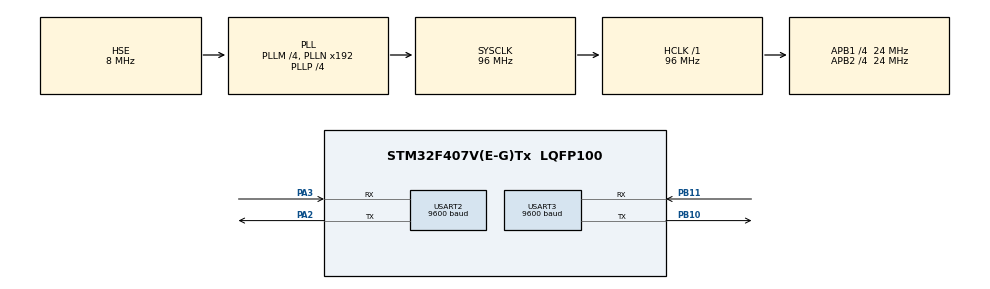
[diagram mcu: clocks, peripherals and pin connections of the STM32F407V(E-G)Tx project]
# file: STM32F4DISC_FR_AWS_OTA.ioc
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Mcu.Family=STM32F4
Mcu.Name=STM32F407V(E-G)Tx
Mcu.Package=LQFP100
NVIC.PriorityGroup=NVIC_PRIORITYGROUP_4
NVIC.TIM2_IRQn=true\:0\:0\:false\:false\:true\:false
NVIC.TimeBase=TIM2_IRQn
NVIC.TimeBaseIP=TIM2
NVIC.USART2_IRQn=true\:0\:0\:false\:false\:true\:true
NVIC.USART3_IRQn=true\:0\:0\:false\:false\:true\:true
PA13.Mode=Serial_Wire
PA13.Signal=SYS_JTMS-SWDIO
PA14.Mode=Serial_Wire
PA14.Signal=SYS_JTCK-SWCLK
PA2.Mode=Asynchronous
PA2.Signal=USART2_TX
PA3.Mode=Asynchronous
PA3.Signal=USART2_RX
PB10.Mode=Asynchronous
PB10.Signal=USART3_TX
PB11.Mode=Asynchronous
PB11.Signal=USART3_RX
PH0-OSC_IN.Mode=HSE-External-Oscillator
PH0-OSC_IN.Signal=RCC_OSC_IN
PH1-OSC_OUT.Mode=HSE-External-Oscillator
PH1-OSC_OUT.Signal=RCC_OSC_OUT
ProjectManager.HeapSize=0x800
ProjectManager.StackSize=0xC00
ProjectManager.TargetToolchain=MDK-ARM V5
RCC.48MHZClocksFreq_Value=96000000
RCC.AHBFreq_Value=96000000
RCC.APB1CLKDivider=RCC_HCLK_DIV4
RCC.APB1Freq_Value=24000000
RCC.APB1TimFreq_Value=48000000
RCC.APB2CLKDivider=RCC_HCLK_DIV4
RCC.APB2Freq_Value=24000000
RCC.APB2TimFreq_Value=48000000
RCC.CortexFreq_Value=96000000
RCC.HCLKFreq_Value=96000000
RCC.HSE_VALUE=8000000
RCC.HSI_VALUE=16000000
RCC.LSE_VALUE=32768
RCC.PLLM=4
RCC.PLLP=RCC_PLLP_DIV4
RCC.PLLSourceVirtual=RCC_PLLSOURCE_HSE
RCC.SYSCLKFreq_VALUE=96000000
RCC.SYSCLKSource=RCC_SYSCLKSOURCE_PLLCLK
RCC.VCOOutputFreq_Value=384000000
USART2.BaudRate=9600
USART2.VirtualMode=VM_ASYNC
USART3.BaudRate=9600
USART3.VirtualMode=VM_ASYNC
VP_SYS_VS_tim2.Mode=TIM2
board=custom

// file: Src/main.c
/**
  ******************************************************************************
  * @file           : main.c
  * @brief          : Main program body
  ******************************************************************************
  ** This notice applies to any and all portions of this file
  * that are not between comment pairs USER CODE BEGIN and
  * USER CODE END. Other portions of this file, whether
  * inserted by the user or by software development tools
  * are owned by their respective copyright owners.
  *
  * COPYRIGHT(c) 2019 STMicroelectronics
  *
  * Redistribution and use in source and binary forms, with or without modification,
  * are permitted provided that the following conditions are met:
  *   1. Redistributions of source code must retain the above copyright notice,
  *      this list of conditions and the following disclaimer.
  *   2. Redistributions in binary form must reproduce the above copyright notice,
  *      this list of conditions and the following disclaimer in the documentation
  *      and/or other materials provided with the distribution.
  *   3. Neither the name of STMicroelectronics nor the names of its contributors
  *      may be used to endorse or promote products derived from this software
  *      without specific prior written permission.
  *
  * THIS SOFTWARE IS PROVIDED BY THE COPYRIGHT HOLDERS AND CONTRIBUTORS "AS IS"
  * AND ANY EXPRESS OR IMPLIED WARRANTIES, INCLUDING, BUT NOT LIMITED TO, THE
  * IMPLIED WARRANTIES OF MERCHANTABILITY AND FITNESS FOR A PARTICULAR PURPOSE ARE
  * DISCLAIMED. IN NO EVENT SHALL THE COPYRIGHT HOLDER OR CONTRIBUTORS BE LIABLE
  * FOR ANY DIRECT, INDIRECT, INCIDENTAL, SPECIAL, EXEMPLARY, OR CONSEQUENTIAL
  * DAMAGES (INCLUDING, BUT NOT LIMITED TO, PROCUREMENT OF SUBSTITUTE GOODS OR
  * SERVICES; LOSS OF USE, DATA, OR PROFITS; OR BUSINESS INTERRUPTION) HOWEVER
  * CAUSED AND ON ANY THEORY OF LIABILITY, WHETHER IN CONTRACT, STRICT LIABILITY,
  * OR TORT (INCLUDING NEGLIGENCE OR OTHERWISE) ARISING IN ANY WAY OUT OF THE USE
  * OF THIS SOFTWARE, EVEN IF ADVISED OF THE POSSIBILITY OF SUCH DAMAGE.
  *
  ******************************************************************************
  */
#include "main.h"
#include "stm32f4xx_hal.h"
#include "usart.h"
#include "gpio.h"
#include "string.h"
#include "stdio.h"

/* USER CODE BEGIN Includes */
#include "sim8001.h"
/* USER CODE END Includes */

/* USER CODE BEGIN PV */
/* Private variables ---------------------------------------------------------*/
extern uint8_t  rec_table[10] ;
/* USER CODE END PV */
uint8_t chrtodec(char chr);
void SystemClock_Config(void);

/* USER CODE BEGIN PFP */
/* Private function prototypes -----------------------------------------------*/

/* USER CODE END PFP */

/* USER CODE BEGIN 0 */
extern int ota_test( void );
extern int ble_chat_test( void );
extern uint16_t  Read_SIM800_RxBuf(char* dataOutputBuff);
extern void Clear_SIM800_RxBuf(void);
/* USER CODE END 0 */

//#define 	BT_SPP_MC_APP_MODE
#define		BLE_SPP_MODE
//#define		BLE_GATT_Service_MODE
//#define		BLE_SPP_RxTx_MODE
//#define		BLESPP_GATT_RxTx_MODE

int main(void)
{
  /* USER CODE BEGIN 1 *//* USER CODE END 1 */

  /* MCU Configuration----------------------------------------------------------*/

  /* Reset of all peripherals, Initializes the Flash interface and the Systick. */
  HAL_Init();

  /* USER CODE BEGIN Init */
  uint8_t test[2] = {0};
  /* USER CODE END Init */

  /* Configure the system clock */
  SystemClock_Config();

  /* Initialize all configured peripherals */
  MX_GPIO_Init();
  MX_USART2_UART_Init();
  MX_USART3_UART_Init();
  /* USER CODE BEGIN 2 */

  HAL_UART_Receive_IT(&huart2, &rec_table[2], 1);
	HAL_UART_Receive_IT(&huart3, &rec_table[3], 1);

		printf("  AT+BTPOWER=1 test ok \r\n \r\n");

	while(1){}

	uint8_t BLE_onoff_status = 0x00;
		//01308562SKY9F99
   if (SendCommand_to_SIM800("AT+BTHOST=01308562SKY9F88\r\n", "OK", 2000,  1) == SUCCESS)
   {
 			 	printf("7.AT+BTHOST=xxxx write HostName ok \r\n \r\n");
   }

		 #ifdef BLE_SPP_MODE   //*********************************BLESPP***************************************************************************************************************
  /* test for BLE_SPP_MODE模式;  */
	printf("This is BLE_SPP_MODE test-190527 \r\n \r\n");
  if (SendCommand_to_SIM800("AT\r\n", "OK", 3000, 1) == SUCCESS)
   {
				 	printf("1. Module AT test ok \r\n \r\n");
   }
  if (SendCommand_to_SIM800("AT+BTPOWER?\r\n", "+BTPWR", 3000, 1) == SUCCESS)
  {
				 	printf("2. AT+BTPOWER? test ok \r\n \r\n");
  }
	//HAL_Delay(1000);
	if (SendCommand_to_SIM800("AT+BTPOWER=1\r\n", "OK", 2000, 1) == SUCCESS)
  {
				 	printf("3. AT+BTPOWER=1 test ok \r\n \r\n");
  }
	//HAL_Delay(1000);
	if (SendCommand_to_SIM800("AT+BTPOWER?\r\n", "+BTPWR:1", 3000, 1) == SUCCESS)
  {
				 	printf("4. AT+BTPOWER? = +BTPWR:1  powerOn \r\n \r\n");
  }
	if (SendCommand_to_SIM800("AT+BTHOST?\r\n", "OK", 2000, 2) == SUCCESS)
  {        //HAL_Delay(1000);
				 	printf("6. AT+BTHOST? test ok \r\n \r\n");
  }

  if (SendCommand_to_SIM800("AT+BTHOST?\r\n", "OK", 2000, 1) == SUCCESS)
  {        //HAL_Delay(1000);
				 	printf("6. AT+BTHOST? test ok \r\n \r\n");
  }
	/******BLE-----------------------------*/
//	if (SendCommand_to_SIM800("AT+BLEADDR?\r\n", "+BLEADDR", 2000, 2) == SUCCESS)
//  {
//				 	printf("15.AT+BLEADDR? test ok \r\n \r\n");
//  }
	if (SendCommand_to_SIM800("AT+BLESTATUS?\r\n", "+BLESTATUS", 2000, 1) == SUCCESS)
  {
				 	printf("16. AT+BLESTATUS? test ok \r\n \r\n");
  }
	printf("____ BLESPP  start ....\r\n");
  ///******开启BLESPP服务 AT+BLESPP=1  注册spp
  if (SendCommand_to_SIM800("AT+BLESPP=1\r\n", "OK", 2000, 1) == SUCCESS)
  {
				 	printf("19. AT+BLESPP=1 regi BLESPP server ok \r\n \r\n");
  }
	HAL_Delay(1000);
	///******查询BLESPP状态 AT+BLESTATUS?
	if (SendCommand_to_SIM800("AT+BLESTATUS?\r\n", "+BLESTATUS", 2000, 1) == SUCCESS)
  {
				 	printf("AT+BLESTATUS? test ok \r\n \r\n");
  }
	uint8_t  ble_counter =0;
	uint16_t  tempRecvDataLen =0;
	uint8_t  userDataLen =0;
	uint8_t  userDataHexLen =0;
	uint8_t  temp_idx  =0;
	char SIM800_RX_BUF_copy[600] = {0};
	char BLE_RX_DataBuff[1000] = {0};
	char userData[600] ={0};
	char userID_RawData[600] ={0};
	char PktData_element_Forward[600] ={0};
	uint8_t userDataHex[300] ={0};
	memset(userData,'\0',sizeof(userData));
	memset(userDataHex,'\0',sizeof(userDataHex));

	uint8_t  pos_idx  =0;
  uint8_t  curSOP_posPtr = 1;
  uint8_t  curEOP_posPtr = 0;
  uint8_t  curPkt_Len = 0;
  uint8_t  curPkt_TypeVal = 0;
	uint8_t  curframe[300] ={0};
  uint8_t  curframelen = 0;
	uint8_t  curPktExpectedLen = 0;
	uint8_t  SopEopFinsh_Flag = 0;//   ---80 succ , 83 fail, idle 0  0125
  uint8_t  SopFindInFrame_Flag = 0;//   ---80 succ , 83 fail, idle 0  0124

	uint8_t BTheartStatus = 0;
  uint8_t BT_heartAck_RecvStatus = 0;  // ---  80 recvd, 83 wait for Ack , 0 idle
  uint8_t BTheart_Reset = 0;            // ---80  reset heart timing

	uint8_t  userID_val[10]={0};
	uint8_t  userID_len=0;

	uint16_t  tmp_len=0;
	uint16_t  tmp_tail_len=0;

	uint8_t ack_heart_notbind[5] = {0xAB,0x00,0x00,0x00,0xCD};
	uint8_t heart_notbind[5] = {0xAB,0x01,0x00,0x00,0xCD};
	char  uID_heart_packet[100]={0xAB,0x01,0x00,0x01,0x01,0xCD};
	char   data_byte_sendbuff[600];

	uint16_t  rawBLEData_len=0;
	uint16_t  BLESPPWREQ_matched_Len=0;
	uint16_t  RTCR_matched_Len=0;
	uint16_t  temp_BLEDataFrag_len=0;
	uint16_t  temp_fragment_counter=0;

	char raw_BLEData_buff[600] = {0};
  char temp_raw_BLEData_buff[600] = {0};
	uint8_t newID_heartStatus = 0;
	/*-------------query, send & receive BLE data-----------------------------*/
	while (1)
  {  HAL_Delay(600);
		 memset(SIM800_RX_BUF_copy, 0, sizeof(SIM800_RX_BUF_copy));
		 tempRecvDataLen = Read_SIM800_RxBuf(SIM800_RX_BUF_copy);
		 if(tempRecvDataLen>1) {
			  printf("__UART__200msRecvData<%s>,len<%d>,\r\n",SIM800_RX_BUF_copy,tempRecvDataLen);
		    Clear_SIM800_RxBuf();
		 } //
		 if( strstr(SIM800_RX_BUF_copy,"+BLESPPCON: 1") != NULL){	//+BLESPPCON: 1
				     printf("$2:+BLESPPCON  BLE CONNECTED success received ok \r\n \r\n");
		 }
		 if( strstr(SIM800_RX_BUF_copy,"+BLESPPCON: 0") != NULL){
				     printf("$2:+BLESPPCON  BLE DISCONNECTED -fail -- ok \r\n \r\n");
		 }
		 /*+BLESPPWREQ   assemble BLE data packet: SIM800_RX_BUF_copy --> BLE_RX_DataBuff[1000] */
		 rawBLEData_len = tempRecvDataLen;
		 memset(raw_BLEData_buff, 0, sizeof(raw_BLEData_buff));
		 //strcpy(raw_BLEData_buff,SIM800_RX_BUF_copy);
		 strcpy(raw_BLEData_buff,strstr(SIM800_RX_BUF_copy,"+BLESPPWREQ:"));
		 temp_fragment_counter = 0;
		 //-----SIM800_RX_BUF_copy解析的分片装入//userData , userDataLen 数据帧字符串 中
		 memset(SIM800_RX_BUF_copy, 0, sizeof(SIM800_RX_BUF_copy));
		 memset(userData, 0, sizeof(userData));
		 userDataLen = 0;
		 while(rawBLEData_len>31)//+BLESPPWREQ
		 {
			 BLESPPWREQ_matched_Len = strlen(strstr(raw_BLEData_buff,"+BLESPPWREQ:"));
			 //printf("$---frag--assamble 1:origin{%s ,rawBLEData_len=%d,BLESPPWREQ_matched_Len=%d}\r\n",raw_BLEData_buff,rawBLEData_len,BLESPPWREQ_matched_Len);
			 if(BLESPPWREQ_matched_Len>31)
				 {
				  //RTCR_matched_Len = strlen(strstr(raw_BLEData_buff,"\r\n"));//Len1-31-len2 =dataLen
				  RTCR_matched_Len = strlen(strstr(raw_BLEData_buff+31,"+BLE"));
					//printf("$---frag--assamble 2: origin{%s ,RTCR_matched_len=%d}r\n",strstr(raw_BLEData_buff+31,"+BLE"),RTCR_matched_Len);
				  if(BLESPPWREQ_matched_Len>70)
					{// BQ_len1 - BQ_len2>=40+31=71   多片
						//printf("$---frag--assamble... \r\n");
				    temp_BLEDataFrag_len =  BLESPPWREQ_matched_Len - RTCR_matched_Len -31-4;//CD之后的换行符占用2~4字节
						if( temp_BLEDataFrag_len >40 ) temp_BLEDataFrag_len =40 ;
						if(temp_BLEDataFrag_len>0)//CurFragData is valid
						{  temp_fragment_counter++;
							 memset(temp_raw_BLEData_buff, 0, sizeof(temp_raw_BLEData_buff));
							 strcpy(temp_raw_BLEData_buff,(strstr(raw_BLEData_buff,"+BLESPPWREQ:")+31));//
							 //printf(" #temp_raw_BLEData_buff-data -cut+BQmac,: {%s} r\n",temp_raw_BLEData_buff);
							 printf(" #%d pkt_frag data: {",temp_fragment_counter);

							 for( temp_idx=0;temp_idx<temp_BLEDataFrag_len;temp_idx++)
							 {
								  userData[userDataLen+temp_idx] = temp_raw_BLEData_buff[temp_idx];
							    printf("%c",temp_raw_BLEData_buff[temp_idx]);
							 }
							 userDataLen = userDataLen+temp_BLEDataFrag_len;
							 printf(" },frag_data_len=%d .",temp_BLEDataFrag_len);

							 memset(raw_BLEData_buff, 0, sizeof(raw_BLEData_buff));
							 rawBLEData_len = BLESPPWREQ_matched_Len - 31 - temp_BLEDataFrag_len;
							 //printf("remain_rawBLEData_len = %d,",rawBLEData_len);
							 strcpy(raw_BLEData_buff,(strstr(temp_raw_BLEData_buff,"+BLESPPWREQ:")));
							 //printf(" **cutoff #%d pkt_frag data,remain_rawBLEData: %s",temp_fragment_counter,raw_BLEData_buff);
							 if(rawBLEData_len<32)
							 {
							     break;
							 }
						}
				  }
					else
					{// BQ_len1 - BQ_len2<40+31=71 单片
					  memset(temp_raw_BLEData_buff, 0, sizeof(temp_raw_BLEData_buff));
							 strcpy(temp_raw_BLEData_buff,(strstr(raw_BLEData_buff,"+BLESPPWREQ:")+31));//
						   temp_BLEDataFrag_len = strlen(temp_raw_BLEData_buff);

						   for( temp_idx=0;temp_idx<temp_BLEDataFrag_len;temp_idx++)
							 {
								  userData[userDataLen+temp_idx] = temp_raw_BLEData_buff[temp_idx];
							 }
						   userDataLen = userDataLen+temp_BLEDataFrag_len;
							 temp_fragment_counter++;
							 printf("\r\n#_%d pkt_frag data: {%s}",temp_fragment_counter,temp_raw_BLEData_buff);
						   rawBLEData_len =0;
					}

		   }
			 else
			 {
			    break;
			 }
		 }

			    /*-------------包解析-----------------------------*/
			    if(userDataLen>4){
						 userData[userDataLen]='\0';
						 //printf("$3:resolve  AB frameAssembled data - len=%d: \r\n {{%s}} \r\n",userDataLen,userData );
					  userDataHexLen = (userDataLen - 2)/2;
						for( temp_idx=0;temp_idx<userDataLen;temp_idx++)
						{  //AB=171 = 10*16+11
              userDataHex[temp_idx] = (chrtodec(userData[2*temp_idx+0]))*16 + (chrtodec(userData[2*temp_idx+1]));
						}
					 for( temp_idx=0;temp_idx<userDataHexLen;temp_idx++)
			     {
					      printf("%X.",userDataHex[temp_idx]);
					 }
					 printf(",HexUserDalaLen=%d\r\n",userDataHexLen);
					 curSOP_posPtr = 0;
					 curframelen = userDataHexLen;
					 for( temp_idx=0;temp_idx<userDataHexLen;temp_idx++)
			     {
						  curframe[temp_idx] =userDataHex[temp_idx];
					 }
					 /*------------帧识别-----------------------------*/
					  while(curSOP_posPtr< (curframelen-3))
					  {
//							 printf(",#%d,", curframe[curSOP_posPtr]);
						   if(curframe[curSOP_posPtr] == 0xab)
							 { //----------find sop 0xAB---------------
								 // printf(",1-1\r\n" );
                        if((curframe[curSOP_posPtr+1] == 0x00)|(curframe[curSOP_posPtr+1] == 0x01)|(curframe[curSOP_posPtr+1] == 0x02))
                        {//----------------------type00 01 02 filter--------------------------
                          curPkt_Len = curframe[curSOP_posPtr+2]*256 + curframe[curSOP_posPtr+3];
                          curPktExpectedLen = curPkt_Len;
                          if((curSOP_posPtr+curPkt_Len+3)<curframelen) //--{0xAB,0x02,0x00,0x03,0xAA,0xBB,0xCC,0xCD}
                          {
                             printf("&10_BLE_DataFrameLen_valid.\r\n");
                             //RS232Handle:writestr(frame:byte(curSOP_posPtr+curPkt_Len+4))
													   //printf("&curSopPos=%d,curPktLen=%d,curframelen=%d\r\n",curSOP_posPtr,curPkt_Len,curframelen);
                            if(curframe[curSOP_posPtr+curPkt_Len+4] == 0xcd)
														{
                             //then -----pick the pkt
                                  if((curSOP_posPtr+curPkt_Len+4)>(curframelen-4))
                                  {
                                    SopEopFinsh_Flag = 80; //--0125  no frament
                                   // printf("&19_.\r\n");
                                  }
                                  //--------------type 00 -----------------
                                  if(curframe[curSOP_posPtr+1] == 0x00)// --ACK
                                  {
                                    //PktData_element = string.sub(curframe,curSOP_posPtr,curSOP_posPtr+4)
                                    printf("&11_BLE_type0_ACK_received.\r\n");
                                    //EnQueueAckTx(PktData_element)
                                    BTheart_Reset = 80;
                                    //cacheSateDataToBT_AckStatus = 80; // ---recv ack , enable toBTsend
                                    curSOP_posPtr = curSOP_posPtr +4;
																	}
                                  //--------------type 01 ----------------recv heartPkt----0124
                                  else if(curframe[curSOP_posPtr+1] == 0x01) //--type = 0x01
                                  {
                                    printf("&18_BLE_type1_Heart_received\r\n");
                                    BTheart_Reset = 80;
                                   // cacheSateDataToBT_AckStatus = 80; // ---recv heartPkt , enable toBTsend
                                    curSOP_posPtr = curSOP_posPtr +4;
//																		memset(data_byte_sendbuff, 0, sizeof(data_byte_sendbuff));
//                                    sprintf(data_byte_sendbuff,"%s%s%s","AT+BLESPPSIND=","12345","\r\n");//
//                                    printf("&uint8-to-byteString:data_byte_sendbuff=%s \r\n",data_byte_sendbuff);
//																		SendCommand_to_SIM800(data_byte_sendbuff, "OK", 1000, 1);// {0xAB,0x00,0x00,0x00,0xCD}
//		                                printf("$-:SendAckToBLEapp-0xAB,0x00,0x00,0x00,0xCD----:  \r\n");
																		memset(data_byte_sendbuff, 0, sizeof(data_byte_sendbuff));
																		sprintf(data_byte_sendbuff,"%s%02x%02x%02x%02x%02x%s","AT+BLESPPSIND=",ack_heart_notbind[0],ack_heart_notbind[1],ack_heart_notbind[2],ack_heart_notbind[3],ack_heart_notbind[4],"\r\n");
                                    SendCommand_to_SIM800(data_byte_sendbuff, "OK", 1000, 1);// {0xAB,0x00,0x00,0x00,0xCD}
																		 //printf("$-:SendAckToBLEapp- heart ack, finish --:  \r\n");
//																		memset(data_byte_sendbuff, 0, sizeof(data_byte_sendbuff));
//																		sprintf(data_byte_sendbuff,"%s%02x%02x%02x%02x%02x%s","AT+BLESPPSIND=",ack_heart_notbind[0],0x01,0x7e,ack_heart_notbind[3],ack_heart_notbind[4],"\r\n");
//                                    SendCommand_to_SIM800(data_byte_sendbuff, "OK", 1000, 1);// {0xAB,0x00,0x00,0x00,0xCD}
//																		memset(data_byte_sendbuff, 0, sizeof(data_byte_sendbuff));
//																		sprintf(data_byte_sendbuff,"%s%s%s","AT+BLESPPSIND=","12345","\r\n");//
//																					data_byte_sendbuff[14] =0x39;
//																		data_byte_sendbuff[15] =0xab;
//																		data_byte_sendbuff[16] =0x00;
//																		data_byte_sendbuff[17] =0xcd;
//																		data_byte_sendbuff[18] =0x39;
//																		SendCommand_to_SIM800(data_byte_sendbuff, "OK", 1000, 1);//
//																		 printf("$-:SendAckToBLEapp- xab,0x00, finish --:  \r\n");
																	}
                                  //--------------type 02 -----------------
                                  else if(curframe[curSOP_posPtr+1] == 0x02) //--type = 0x02
                                  {  //userData , userDataLen 数据帧字符串
																		//payload filter --取出ID   Payload = 12|G|api/user/1/device/bind?device_id=1&foo=bar
																		//'/device/bind' = HEX   2F6465766963652F62696E64
																		//  user/= HEX 75 73 65 72 2f
																		 printf("&12_BLE_type2_HTTPup_received  \r\n");
                                    //uint8_t bindpos_start,bindpos_end=string.find(string.sub(curframe,(curSOP_posPtr+4),(curSOP_posPtr+curPkt_Len+3))//, '/device/bind')
                                    if(strstr(userData,"2F6465766963652F62696E64") != NULL)
																		{
																			 printf("&12_BLE_type2_HTTPup_Bind_resolve... \r\n");
  																		 //printf("$-: (/device/bind) searched--  \r\n");
																			 tmp_len = strlen(strstr(userData,"757365722F"));
																			 //printf("$-: (user/) searched--, len=%d  \r\n",tmp_len);
																			 tmp_tail_len = strlen(strstr(userData,"2F6465766963652F62696E64"));
																			  //printf("$-:device/bind searched--, len=%d:  \r\n",tmp_tail_len);
																			if(tmp_len-tmp_tail_len>10)//get user ID
																			{
																				 userID_len=(tmp_len-tmp_tail_len-10);
			                                   strcpy(userID_RawData,strstr(userData,"757365722F"));
																				 for( temp_idx=0;temp_idx<userID_len;temp_idx++)
																				 {
																						userID_val[temp_idx] =userID_RawData[temp_idx+10];
																				 }
																		  }
																			if(userID_len>0)
																		  {
																		 	printf("&newBind_userID val={ " );
																			for( temp_idx=0;temp_idx<userID_len;temp_idx++)//userID_len/2=userID_Hexlen
																			{
																					printf("%c",userID_val[temp_idx] );
																			}
																			printf("},userID_len= %d\r\n",userID_len);

                                      newID_heartStatus = 83;
																			memset(data_byte_sendbuff, 0, sizeof(data_byte_sendbuff));
																			memset(uID_heart_packet, 0, sizeof(uID_heart_packet));
																			uID_heart_packet[0] = 'A';
																			uID_heart_packet[1] = 'B';
																			uID_heart_packet[2] = '0';
																			uID_heart_packet[3] = '1';
																			uID_heart_packet[4] = '0';
																			uID_heart_packet[5] = '0';
																			uID_heart_packet[6] = '0';
																			uID_heart_packet[7] = 48+userID_len/2;
																			for( temp_idx=0;temp_idx<userID_len;temp_idx++)
																			{
																				uID_heart_packet[8+temp_idx] = userID_val[temp_idx];
																			}
																			uID_heart_packet[8+userID_len] = 'C';
																			uID_heart_packet[9+userID_len] = 'D';
																			uID_heart_packet[10+userID_len] = '\0';
																			printf("&Update NewID_Binded heart pkt send ...=: (%s) \r\n",uID_heart_packet);
																			sprintf(data_byte_sendbuff,"%s%s%s","AT+BLESPPSIND=",uID_heart_packet,"\r\n");
																			SendCommand_to_SIM800(data_byte_sendbuff, "OK", 1000, 1);//
																			//printf("&UpdateNewID---SendAckToBLEapp- ID_Binded heart pkt to BLE, finish --:  \r\n");

																		  }
																		}

                                     //------------------unbind --------------------
                                     //local unbindpos_start,unbindpos_end=string.find(string.sub(curframe,(curSOP_posPtr+4),(curSOP_posPtr+curPkt_Len+3)), '/device/unbind')
//                                    if(unbindpos_start~=nil)---????
//                                    then
//                                       if Echo232BTflag == 80 then
//                                       RS232Handle:writestr("&17")
//                                       end
//                                       userID_len = 0
//                                       newID_heartStatus  =  83
//                                    end
//                                    ----
//                                    --PktData_element = (string.sub(frame,(curSOP_posPtr+1),(curSOP_posPtr+1)))..(string.sub(frame,(curSOP_posPtr+4),(curSOP_posPtr+curPkt_Len+3))) --type + payload
                                    //if curPkt_Len > 5 // ---payload len >1 0124  at least 5byte payload
                                    //then
                                    //PktData_element =(string.sub(curframe,(curSOP_posPtr+4),(curSOP_posPtr+curPkt_Len+3))) //--  payload 20190118

//                                    --RS232Handle:writestr("&&33")
//                                    --RS232Handle:writestr(PktData_element)
                                    //EnQueueTx_busyFlag = 83
                                    //EnQueueTx(PktData_element)   ---发送到卫星
                                    //EnQueueTx_busyFlag = 0

																		// ---发送到卫星
																		printf("\r\n&&33_Data_To_Satellite={ \r\n" );
																		for( temp_idx=0;temp_idx<curPkt_Len;temp_idx++)
																		{
																		   PktData_element_Forward[temp_idx] = curframe[curSOP_posPtr+4+temp_idx];
																			 printf("%X ",PktData_element_Forward[temp_idx] );
																		}
																		printf("}\r\n ={" );
																		for( temp_idx=0;temp_idx<curPkt_Len;temp_idx++)
																		{
																			 printf("%c",PktData_element_Forward[temp_idx] );
																		}
																		printf("} " );
                                    SendCommand_to_SIM800("AT+BLESPPSIND=AB000000CD\r\n", "OK", 1000, 1);
		                                printf("&SendAck to BLE-0xAB,0x00,0x00,0x00,0xCD----:  \r\n");
                                   // BTheart_Reset = 80
                                    curSOP_posPtr = curSOP_posPtr +4+curPkt_Len;
																	}
                                 // end  ----type --------------------

																} //--------EOP find -pick the pkt
                          // else //--(curSOP_posPtr+curPkt_Len+3)>=curframelen
//                                ----------fragment -----0125--strart---------------------------------------
//                               if((curframe:byte(curSOP_posPtr+1) == 0x02) and (curPkt_Len<240) )--type = 0x02    87+33*3bytes
//                               then
//                                  if Echo232BTflag == 80 then
//                                       RS232Handle:writestr("&15")
//                                  end
//
//                                  if(curSOP_posPtr < (curframelen-18))  ---
//                                  then  --- is a fragment
//                                       cacheOldFrame[1] = (string.sub(curframe,curSOP_posPtr,-1))
//                                       oldFrame_len =  curframelen-curSOP_posPtr+1
//                                       oldFrameFragment_Flag = 83
//                                       oldPktExpected_len = curPkt_Len
//                                       if Echo232BTflag == 80 then
//                                       RS232Handle:writestr("&16")
//                                       end
//                                       curSOP_posPtr = curframelen   ---to next circile
//                                  end
//
															//}// end
                                //----------fragment -----0125-end----------------------------------------
													}//  ----if((curSOP_posPtr+curPkt_Len+3)<curframelen)  -data len enough

												 }//----------------------type00 01 02 filter--------------------------
											}//  ----------find sop 0xAB---------------
                      curSOP_posPtr = curSOP_posPtr +1;

						}

	      }
		  //}
		  memset(SIM800_RX_BUF_copy, 0, sizeof(SIM800_RX_BUF_copy));
	    ble_counter++;
			if( ble_counter == 20) {
//			 	SendCommand_to_SIM800("AT+BLESPPSIND=1234ABCD\r\n", "OK", 1000, 1);  //[12 34 AB CD]
//				SendCommand_to_SIM800("AT+BLESPPSIND=\"5678efgh\"\r\n", "OK", 1000, 1);
//				memset(data_byte_sendbuff, 0, sizeof(data_byte_sendbuff));
//        sprintf(data_byte_sendbuff,"%s%02x%02x%02x%02x%02x%s","AT+BLESPPSIND=",ack_heart_notbind[0],ack_heart_notbind[1],ack_heart_notbind[2],ack_heart_notbind[3],ack_heart_notbind[4],"\r\n");
//        printf("&uint8-to-byteString:data_byte_sendbuff=%s \r\n",data_byte_sendbuff);
//				SendCommand_to_SIM800(data_byte_sendbuff, "OK", 1000, 1);
//
//				char* str = "AT+BLESPPSIND=yyyyyyyy\r\n";
//				str[14] = 'K';
//				str[15] = 0xAB;
//				str[16] = 0x38;
//				str[17] = 'O';
//				SendCommand_to_SIM800(str, "OK", 1000, 1);
//				data_byte_sendbuff[14] =0x39;
//			  data_byte_sendbuff[15] =0x38;
//        data_byte_sendbuff[16] =0x38;
//        data_byte_sendbuff[17] =0x38;
//        data_byte_sendbuff[18] =0x39;
//				SendCommand_to_SIM800(data_byte_sendbuff, "OK", 1000, 1);
				  if(userID_len>0)
					{
             memset(data_byte_sendbuff, 0, sizeof(data_byte_sendbuff));
					 	memset(uID_heart_packet, 0, sizeof(uID_heart_packet));
						uID_heart_packet[0] = 'A';
						uID_heart_packet[1] = 'B';
						uID_heart_packet[2] = '0';
						uID_heart_packet[3] = '1';
						uID_heart_packet[4] = '0';
						uID_heart_packet[5] = '0';
						uID_heart_packet[6] = '0';
						uID_heart_packet[7] = 48+userID_len/2;
						for( temp_idx=0;temp_idx<userID_len;temp_idx++)
						{
							uID_heart_packet[8+temp_idx] = userID_val[temp_idx];
					  }
						uID_heart_packet[8+userID_len] = 'C';
						uID_heart_packet[9+userID_len] = 'D';
						uID_heart_packet[10+userID_len] = '\0';
						printf("$-:ID_Binded heart pkt=: (%s) \r\n",uID_heart_packet);
						sprintf(data_byte_sendbuff,"%s%s%s","AT+BLESPPSIND=",uID_heart_packet,"\r\n");
            SendCommand_to_SIM800(data_byte_sendbuff, "OK", 1000, 1);// {0xAB,0x00,0x00,0x00,0xCD}
						printf("$-:SendAckToBLEapp- ID_Binded heart pkt to BLE, finish --:  \r\n");

					}
				  else
					{
					  memset(data_byte_sendbuff, 0, sizeof(data_byte_sendbuff));
						sprintf(data_byte_sendbuff,"%s%02x%02x%02x%02x%02x%s","AT+BLESPPSIND=",heart_notbind[0],heart_notbind[1],heart_notbind[2],heart_notbind[3],heart_notbind[4],"\r\n");
            SendCommand_to_SIM800(data_byte_sendbuff, "OK", 1000, 1);//
						printf("$-:SendHeartToBLEapp- notBinded heart pkt to BLE, finish --:  \r\n");
					}
		    printf("$4:AT+BLE-----6s circle:  \r\n");
				ble_counter =0;
			}
	 }
   #endif

	 #ifdef BLESPP_GATT_RxTx_MODE   //*********************************BLESPP_GATT_RxTx_MODE*********************************************************************************************************
	 printf("This is BLESPP_GATT_RxTx_MODE dual Service test \r\n");
   if (SendCommand_to_SIM800("AT\r\n", "OK", 3000, 1) == SUCCESS)
   {
				 	printf("1. Module AT test ok  \r\n");
   }
	 BLE_onoff_status = 0x00;
  if (SendCommand_to_SIM800("AT\r\n", "OK", 3000, 1) == SUCCESS)
   {
				 	printf("1. Module AT test ok  \r\n");
   }
  if (SendCommand_to_SIM800("AT+BTPOWER?\r\n", "+BTPWR:1", 3000, 1) == SUCCESS)
  {
				 	printf("2. AT+BTPOWER? test ok \r\n");
		      BLE_onoff_status = 0x01;
  }
	if(BLE_onoff_status == 0x00)
	{
		 	printf("AT BTPOWER is off \r\n");
	if (SendCommand_to_SIM800("AT+BTPOWER=1\r\n", "OK", 2000, 1) == SUCCESS)
  {
				 	printf("3. AT+BTPOWER=1  open BT ok  \r\n");
  }
  }
	 /******BLESPP regi-----------------------------*/
	if (SendCommand_to_SIM800("AT+BLEADDR?\r\n", "+BLEADDR", 2000, 2) == SUCCESS)
  {
				 	printf("4.AT+BLEADDR? test ok \r\n");
  }
	if (SendCommand_to_SIM800("AT+BLESTATUS?\r\n", "+BLESTATUS", 2000, 2) == SUCCESS)
  {
				 	printf("5. AT+BLESTATUS? test ok \r\n");
  }
  ///******开启BLESPP服务 AT+BLESPP=1  注册spp
  if (SendCommand_to_SIM800("AT+BLESPP=1\r\n", "OK", 2000, 2) == SUCCESS)
  {
				 	printf("6. AT+BLESPP=1 regi BLESPP server ok \r\n \r\n");
  }
	HAL_Delay(1000);
	//*********************************GATT_Service config***************************
  //注册GATT服务 +BLESREG: <server_index>,<user_id>
	if (SendCommand_to_SIM800("AT+BLESREG\r\n", "+BLESREG", 2000, 1) == SUCCESS)
  {
				 	printf("17.AT+BLESREG regi GATT service ok \r\n \r\n");
  }
	//查询GATT服务 +BLESREG: <server_index>,<user_id>
	if (SendCommand_to_SIM800("AT+BLESREG?\r\n", "+BLESREG", 2000, 1) == SUCCESS)
  {
				 	printf("16-a.AT+BLESREG?  query GATT service ok \r\n \r\n");
  }

	//添加服务  AT+BLESSAD=1,“123456”,15,1,1   ，+BLESAD: 1,ABCDEFF0,123456,1,1,256
	//AT+BLESSAD=<server_index>,<uuid>,<num_handles>,<is_primary>,<inst>
	//+BLESSAD:<service_index>,<user_id>,<uuid>,<is_primary>,<inst>,<service_handle>
	if (SendCommand_to_SIM800("AT+BLESSAD=1,\"123456\",15,1,1\r\n", "+BLESSAD", 2000, 1) == SUCCESS)
  {
				 	printf("18.AT+BLESSAD=1,... add GATT service ok \r\n \r\n");
  }
	//服务service上添加可读写的characteristic: AT+BLESSC=1,"ABCDEF",1,10,17  ，+BLESSC: 1,ABCDEFF0,256,ABCDEF,1,258
	if (SendCommand_to_SIM800("AT+BLESSC=1,\"ABCDEF\",1,10,17\r\n", "+BLESSC", 2000, 1) == SUCCESS)
  {
				 	printf("19.AT+BLESSC=1,,... add characteristic 1 RW ok \r\n \r\n");
  }
	//服务service上添加Notify的characteristic: AT+BLESSC=1,"ABCDEF",1,16,17 ，+BLESSC: 2,ABCDEFF0,256,ABCDEF,1,260
	if (SendCommand_to_SIM800("AT+BLESSC=1,\"ABCDEF\",1,16,17\r\n", "+BLESSC", 2000, 1) == SUCCESS)
  {
				 	printf("20.AT+BLESSC=1,,... add characteristic 2 Notify ok \r\n \r\n");
  }
	//服务service上添加descriptor: AT+BLESSD=1,"0229",1,0，+BLESSD: 1,ABCDEFF0,256,0229,1,261
	if (SendCommand_to_SIM800("AT+BLESSD=1,\"0229\",1,0\r\n", "+BLESSD", 2000, 1) == SUCCESS)
  {
				 	printf("21.AT+BLESSD=1,,... add descriptor 1  ok \r\n \r\n");
  }
	//启动GATT服务 service : AT+BLESSSTART=1,0  ,+BLESSSTART: 1,ABCDEFF0,256
	if (SendCommand_to_SIM800("AT+BLESSSTART=1,0\r\n", "+BLESSSTART", 2000, 1) == SUCCESS)
  {
				 	printf("22.AT+BLESSSTART=1,0 Start GATT service ok \r\n \r\n");
  }
	//开始广播: AT+BLESLSTART=1  ,+BLESLSTART: 1,ABCDEFF0
	if (SendCommand_to_SIM800("AT+BLESLSTART=1\r\n", "+BLESLSTART", 2000, 1) == SUCCESS)
  {
				 	printf("23.AT+BLESLSTART=1 Start Broadcast ok \r\n \r\n");
  }

	///******查询BLESPP状态 AT+BLESTATUS?
	if (SendCommand_to_SIM800("AT+BLESTATUS?\r\n", "+BLESTATUS", 2000, 2) == SUCCESS)
  {
				 	printf("AT+BLESTATUS? test ok \r\n");
  }

	/******BLE GATT regi-----------------------------*/

	 #endif

	 #ifdef BLE_SPP_RxTx_MODE   //*********************************BLE_SPP_RxTx_MODE*********************************************************************************************************
  /* test for LE_SPP_RxTx_MODE模式;  */
	printf("This is BLE_SPP_RxTx_MODE test \r\n");
	BLE_onoff_status = 0x00;
  if (SendCommand_to_SIM800("AT\r\n", "OK", 3000, 1) == SUCCESS)
   {
				 	printf("1. Module AT test ok  \r\n");
   }
  if (SendCommand_to_SIM800("AT+BTPOWER?\r\n", "+BTPWR:1", 3000, 1) == SUCCESS)
  {
				 	printf("2. AT+BTPOWER? test ok \r\n");
		      BLE_onoff_status = 0x01;
  }
	if(BLE_onoff_status == 0x00)
	{
		 	printf("AT BTPOWER is off \r\n");
	if (SendCommand_to_SIM800("AT+BTPOWER=1\r\n", "OK", 2000, 1) == SUCCESS)
  {
				 	printf("3. AT+BTPOWER=1  open BT ok  \r\n");
  }
  }
	if (SendCommand_to_SIM800("AT+BTSTATUS?\r\n", "+BTSTATUS", 1000, 1) == SUCCESS)
  {
				 	printf("4. AT+BTSTATUS? test ok \r\n");
  }

	/******BLE-----------------------------*/
	if (SendCommand_to_SIM800("AT+BLEADDR?\r\n", "+BLEADDR", 2000, 2) == SUCCESS)
  {
				 	printf("15.AT+BLEADDR? test ok \r\n");
  }
	if (SendCommand_to_SIM800("AT+BLESTATUS?\r\n", "+BLESTATUS", 2000, 2) == SUCCESS)
  {
				 	printf("16. AT+BLESTATUS? test ok \r\n");
  }
  ///******开启BLESPP服务 AT+BLESPP=1  注册spp
  if (SendCommand_to_SIM800("AT+BLESPP=1\r\n", "OK", 2000, 2) == SUCCESS)
  {
				 	printf("19. AT+BLESPP=1 regi BLESPP server ok \r\n \r\n");
  }
	HAL_Delay(1000);
	///******查询BLESPP状态 AT+BLESTATUS?
	if (SendCommand_to_SIM800("AT+BLESTATUS?\r\n", "+BLESTATUS", 2000, 2) == SUCCESS)
  {
				 	printf("AT+BLESTATUS? test ok \r\n");
  }
	uint8_t  ble_counter =0;

	/*-------------query, send & receive BLE data-----------------------------*/
	while (1)
  {  HAL_Delay(50);
		 char SIM800_RX_BUF_copy[200] = {0};
		 Read_SIM800_RxBuf(SIM800_RX_BUF_copy);
	  if( strstr(SIM800_RX_BUF_copy,"+BLESPPCON") != NULL)
			   {
				     Clear_SIM800_RxBuf();
				     printf("$2:+BLESPPCON  BLE CONNECTED success received ok  \r\n");
			   }
		  /*query +BTSPPDATA*/
		 if( strstr(SIM800_RX_BUF_copy,"+BLESPPWREQ") != NULL)
		     {	Clear_SIM800_RxBuf();
					 printf("$3:+BLESPPWREQ   data received: \r\n");
					 printf("< %s >\r\n",SIM800_RX_BUF_copy);
		     }
	    ble_counter++;
			if( ble_counter == 100) //1s
			{
				SendCommand_to_SIM800("AT+BLESPPSIND=\"1234ABCD\"\r\n", "OK", 1000, 1);
		    printf("$4:AT+BLE-----:  \r\n");
				ble_counter =0;
			}
	 }
   #endif

	#ifdef BT_SPP_MC_APP_MODE //*********************************BT_SPP_MC_APP_MODE*********************************************************************************************************
  /* test for SPP-MC-APP模式;  */
	printf("This is BT_SPP_MC_APP_MODE test \r\n \r\n");
  if (SendCommand_to_SIM800("AT\r\n", "OK", 3000, 2) == SUCCESS)
   {
				 	printf("1. Module AT test ok \r\n \r\n");
   }
  if (SendCommand_to_SIM800("AT+BTPOWER?\r\n", "+BTPWR", 3000, 2) == SUCCESS)
  {
				 	printf("2. AT+BTPOWER? test ok \r\n \r\n");
  }
	//HAL_Delay(1000);
	if (SendCommand_to_SIM800("AT+BTPOWER=1\r\n", "OK", 2000, 2) == SUCCESS)
  {
				 	printf("3. AT+BTPOWER=1 test ok \r\n \r\n");
  }
	//HAL_Delay(1000);
	if (SendCommand_to_SIM800("AT+BTPOWER?\r\n", "+BTPWR:1", 3000, 2) == SUCCESS)
  {
				 	printf("4. AT+BTPOWER? = +BTPWR:1  powerOn \r\n \r\n");
  }
	if (SendCommand_to_SIM800("AT+BTSPPCFG=?\r\n", "+BTSPPCFG", 1000, 2) == SUCCESS)
  {   //query
				 	printf("--. AT+BTSPPCFG=? test ok \r\n \r\n");
  }
	if (SendCommand_to_SIM800("AT+BTSPPCFG=\"MC\",2\r\n", "+BTSPPCFG", 1000, 2) == SUCCESS)
  {   //query
				 	printf("5. AT+BTSPPCFG=\"MC\",2 test ok \r\n \r\n");
  }
	if (SendCommand_to_SIM800("AT+BTHOST?\r\n", "OK", 2000, 2) == SUCCESS)
  {       //HAL_Delay(1000);
				 	printf("8. AT+BTHOST? test ok \r\n \r\n");
  }
	 ///****注销BLESPP服务 AT+BLESPP=0
		printf("BLE spp closing ...\r\n");
  if (SendCommand_to_SIM800("AT+BLESPP=0\r\n", "OK", 2000, 1) == SUCCESS)
  {
				 	printf("19. AT+BLESPP=1 close BLESPP server ok \r\n \r\n");
  }
	//HAL_Delay(1000);
	if (SendCommand_to_SIM800("AT+BTSTATUS?\r\n", "+BTSTATUS", 1000, 2) == SUCCESS)
  {
				 	printf("9. AT+BTSTATUS? test ok \r\n \r\n");
  }
	//HAL_Delay(1000);
	if (SendCommand_to_SIM800("AT+BTSPPCFG=\"MC\",1\r\n", "+BTSPPCFG", 1000, 2) == SUCCESS)
  {   //config
				 	printf("10. AT+BTSPPCFG=\"MC\",1  config SPP.MC=1 ok \r\n \r\n");
  }
		//HAL_Delay(1000);
		if (SendCommand_to_SIM800("AT+BTSPPCFG=\"MC\",2\r\n", "+BTSPPCFG", 1000, 2) == SUCCESS)
  {   //query
				 	printf("11.AT+BTSPPCFG=\"MC\",2 test ok \r\n \r\n");
  }
	//HAL_Delay(1000);
	if (SendCommand_to_SIM800("AT+BTCOD?\r\n", "OK", 2000, 2) == SUCCESS)
  {        //HAL_Delay(1000);
				 	printf("12.AT+BTCOD? test ok \r\n \r\n"); //+BTCOD: <en>,<mjr_srv>,<mjr_cls>,<mnr_cls>
  }
	uint8_t  counter =0;
	/*-------------query, send & receive BLE data-----------------------------*/
	while (1)
  {  HAL_Delay(50);
		 char SIM800_RX_BUF_copy[200] = {0};
		 Read_SIM800_RxBuf(SIM800_RX_BUF_copy);
		 /*query +BTPAIRING*/
	   if( strstr(SIM800_RX_BUF_copy,"+BTPAIRING") != NULL)
			   {
				     Clear_SIM800_RxBuf();
					 printf("$1:+BTPAIRING received ok \r\n \r\n");
					  SendCommand_to_SIM800("AT+BTPAIR=1,1\r\n", "+BTPAIR", 1000, 2);
			   }
		 if( strstr(SIM800_RX_BUF_copy,"+BTCONNECTING") != NULL)
			   {
				     Clear_SIM800_RxBuf();
				     printf("$2:+BTCONNECTING received ok \r\n \r\n");
					 SendCommand_to_SIM800("AT+BTACPT=1\r\n", "+BTCONNECT", 1000, 2);
			   }

		  /*query +BTSPPDATA*/
		 if( strstr(SIM800_RX_BUF_copy,"+BTSPPDATA") != NULL)
		     {	Clear_SIM800_RxBuf();
					 printf("$3:+BTSPPDATA received: \r\n");
					 printf("< %s >\r\n",SIM800_RX_BUF_copy);
		     }
	    counter++;
    if( counter == 20) //1s
		{
		 /*query connection and send BLE data*/
		 if (SendCommand_to_SIM800("AT+BTSPPCFG?\r\n", "S,1,1", 1000, 2) == SUCCESS)
     {   //
			    printf("$4:+BTSPPCFG: S,1,1 --BT_SPP is connected:  \r\n");
			    SendCommand_to_SIM800("AT+BTRSSI=1\r\n", "+BTRSSI:", 1000, 2);
			         SendCommand_to_SIM800("AT+BTSPPSEND=1,10\r\n", ">", 2000, 1);
			         HAL_Delay(100);
					     if (SendCommand_to_SIM800("data1234567", "SEND OK", 2000, 1) == SUCCESS)
							 {
								//HAL_Delay(1000);
								 printf("$5:Send BT_SPP data ok <data1234567> \r\n \r\n");
							 }
     }
     counter = 0;
		 HAL_Delay(100);
	  }
	 }
	 #endif //************************************************************

  #ifdef BLE_GATT_Service_MODE   //*********************************BLE_GATT_Service_MODE *********************************************************************************************************
  /* test for BLE_GATT_Service_MODE模式;  */
	printf("This is BLE_GATT_Service_MODE test \r\n \r\n");
  if (SendCommand_to_SIM800("AT\r\n", "OK", 3000, 2) == SUCCESS)
   {
				 	printf("1. Module AT test ok \r\n \r\n");
   }
  if (SendCommand_to_SIM800("AT+BTPOWER?\r\n", "+BTPWR", 3000, 2) == SUCCESS)
  {
				 	printf("2. AT+BTPOWER? test ok \r\n \r\n");
  }
	//HAL_Delay(1000);
	if (SendCommand_to_SIM800("AT+BTPOWER=1\r\n", "OK", 2000, 2) == SUCCESS)
  {
				 	printf("3. AT+BTPOWER=1 test ok \r\n \r\n");
  }
	/*BLE-----*/
	if (SendCommand_to_SIM800("AT+BLEADDR?\r\n", "+BLEADDR", 2000, 2) == SUCCESS)
  {
				 	printf("15.AT+BLEADDR? test ok \r\n \r\n");
  }
	if (SendCommand_to_SIM800("AT+BLESTATUS?\r\n", "+BLESTATUS", 2000, 2) == SUCCESS)
  {
				 	printf("16. AT+BLESTATUS? test ok \r\n \r\n");
  }
	//*********************************GATT_Service config***********BLE_GATT_Service_MODE****************
	//查询GATT服务 +BLESREG: <server_index>,<user_id>
	if (SendCommand_to_SIM800("AT+BLESREG?\r\n", "+BLESREG", 2000, 1) == SUCCESS)
  {
				 	printf("16-a.AT+BLESREG?  query GATT service ok \r\n \r\n");
  }
  //注册GATT服务 +BLESREG: <server_index>,<user_id>
	if (SendCommand_to_SIM800("AT+BLESREG\r\n", "+BLESREG", 2000, 1) == SUCCESS)
  {
				 	printf("17.AT+BLESREG regi GATT service ok \r\n \r\n");
  }
	//查询GATT服务 +BLESREG: <server_index>,<user_id>
	if (SendCommand_to_SIM800("AT+BLESREG?\r\n", "+BLESREG", 2000, 1) == SUCCESS)
  {
				 	printf("16-a.AT+BLESREG?  query GATT service ok \r\n \r\n");
  }
	//添加服务  AT+BLESSAD=1,“123456”,15,1,1   ，+BLESAD: 1,ABCDEFF0,123456,1,1,256
	//AT+BLESSAD=<server_index>,<uuid>,<num_handles>,<is_primary>,<inst>
	//+BLESSAD:<service_index>,<user_id>,<uuid>,<is_primary>,<inst>,<service_handle>
	if (SendCommand_to_SIM800("AT+BLESSAD=1,\"123456\",15,1,1\r\n", "+BLESSAD", 2000, 1) == SUCCESS)
  {
				 	printf("18.AT+BLESSAD=1,... add GATT service ok \r\n \r\n");
  }
	//服务service上添加可读写的characteristic: AT+BLESSC=1,"ABCDEF",1,10,17  ，+BLESSC: 1,ABCDEFF0,256,ABCDEF,1,258
	if (SendCommand_to_SIM800("AT+BLESSC=1,\"ABCDEF\",1,8,8\r\n", "+BLESSC", 2000, 1) == SUCCESS)
  {
				 	printf("19.AT+BLESSC=1,,... add characteristic 1 RW ok \r\n \r\n");
  }
	//服务service上添加Notify的characteristic: AT+BLESSC=1,"ABCDEF",1,16,17 ，+BLESSC: 2,ABCDEFF0,256,ABCDEF,1,260
	if (SendCommand_to_SIM800("AT+BLESSC=1,\"ABCDEF\",1,16,17\r\n", "+BLESSC", 2000, 1) == SUCCESS)
  {
				 	printf("20.AT+BLESSC=1,,... add characteristic 2 Notify ok \r\n \r\n");
  }
	//服务service上添加descriptor: AT+BLESSD=1,"0229",1,0，+BLESSD: 1,ABCDEFF0,256,0229,1,261
	if (SendCommand_to_SIM800("AT+BLESSD=1,\"0229\",1,0\r\n", "+BLESSD", 2000, 1) == SUCCESS)
  {
				 	printf("21.AT+BLESSD=1,,... add descriptor 1  ok \r\n \r\n");
  }
	//启动GATT服务 service : AT+BLESSSTART=1,0  ,+BLESSSTART: 1,ABCDEFF0,256
	if (SendCommand_to_SIM800("AT+BLESSSTART=1,0\r\n", "+BLESSSTART", 2000, 1) == SUCCESS)
  {
				 	printf("22.AT+BLESSSTART=1,0 Start GATT service ok \r\n \r\n");
  }
	//开始广播: AT+BLESLSTART=1  ,+BLESLSTART: 1,ABCDEFF0
	if (SendCommand_to_SIM800("AT+BLESLSTART=1\r\n", "+BLESLSTART", 2000, 1) == SUCCESS)
  {
				 	printf("23.AT+BLESLSTART=1 Start Broadcast ok \r\n \r\n");
  }
	while(1)
  {
	//查询BLE状态   +BLESTATUS: <conn_id>,<gatts_type>,<userid>,<addr>
		if (SendCommand_to_SIM800("AT+BLESTATUS?\r\n", "+BLESTATUS", 2000, 1) == SUCCESS)
		{
						printf("16. AT+BLESTATUS? test ok \r\n \r\n");
			if (SendCommand_to_SIM800("AT+BLESSC?\r\n", "+BLESSC", 2000, 1) == SUCCESS)
     {
				 	printf("AT+BLESSC? test ok \r\n");
     }
		  SendCommand_to_SIM800("AT+BLESIND=2,\"9876543\"\r\n", "+BLESIND", 2000, 1);
		}
	  HAL_Delay(5000);
  }

	//设置广播参数 AT+BLEADV=1,1,1,0,25,"4c00","02291234","2902"   +BLEADV
	  //AT+BLEADV=1,1,1,0,25,\"4c00\",\"02291234\",\"FEE0\"
	  //<server_index>,<s can_rsp>,<include_name>,<include_txpower>,<appearance>,<manufacturer_data>,<service_data>,<service_uuid>
//	if (SendCommand_to_SIM800("AT+BLEADV=1,1,1,0,25,\"4c00\",\"02291234\",\"FEE0\"\r\n", "+BLEADV", 2000, 2) == SUCCESS)
//  {
//				 	printf("18. AT+BLEADV=1,1... set BroadCast Para ok \r\n \r\n");
//  }
	//启动GATT服务：

 #endif

  /* USER CODE END 2 */

  /* Infinite loop */
  while (1)
  {

  }

}

/**
  * @brief chr to uint8 dec
  * @retval None
  */
uint8_t chrtodec(char chr)
{
        uint8_t value=0;
        if((chr>='a')&&(chr<='z'))
                chr=chr-32;
        if((chr>='0')&&(chr<='9'))
                value=chr-48;
        else if((chr>='A')&&(chr<='Z'))
                value=chr-65+10;
        return value;
}

void SystemClock_Config(void)
{

  RCC_OscInitTypeDef RCC_OscInitStruct;
  RCC_ClkInitTypeDef RCC_ClkInitStruct;

    /**Configure the main internal regulator output voltage
    */
  __HAL_RCC_PWR_CLK_ENABLE();

  __HAL_PWR_VOLTAGESCALING_CONFIG(PWR_REGULATOR_VOLTAGE_SCALE1);

    /**Initializes the CPU, AHB and APB busses clocks
    */
  RCC_OscInitStruct.OscillatorType = RCC_OSCILLATORTYPE_HSE;
  RCC_OscInitStruct.HSEState = RCC_HSE_ON;
  RCC_OscInitStruct.PLL.PLLState = RCC_PLL_ON;
  RCC_OscInitStruct.PLL.PLLSource = RCC_PLLSOURCE_HSE;
  RCC_OscInitStruct.PLL.PLLM = 4;
  RCC_OscInitStruct.PLL.PLLN = 192;
  RCC_OscInitStruct.PLL.PLLP = RCC_PLLP_DIV4;
  RCC_OscInitStruct.PLL.PLLQ = 4;
  if (HAL_RCC_OscConfig(&RCC_OscInitStruct) != HAL_OK)
  {
    _Error_Handler(__FILE__, __LINE__);
  }

    /**Initializes the CPU, AHB and APB busses clocks
    */
  RCC_ClkInitStruct.ClockType = RCC_CLOCKTYPE_HCLK|RCC_CLOCKTYPE_SYSCLK
                              |RCC_CLOCKTYPE_PCLK1|RCC_CLOCKTYPE_PCLK2;
  RCC_ClkInitStruct.SYSCLKSource = RCC_SYSCLKSOURCE_PLLCLK;
  RCC_ClkInitStruct.AHBCLKDivider = RCC_SYSCLK_DIV1;
  RCC_ClkInitStruct.APB1CLKDivider = RCC_HCLK_DIV4;
  RCC_ClkInitStruct.APB2CLKDivider = RCC_HCLK_DIV4;

  if (HAL_RCC_ClockConfig(&RCC_ClkInitStruct, FLASH_LATENCY_3) != HAL_OK)
  {
    _Error_Handler(__FILE__, __LINE__);
  }

    /**Configure the Systick interrupt time
    */
  HAL_SYSTICK_Config(HAL_RCC_GetHCLKFreq()/1000);

    /**Configure the Systick
    */
  HAL_SYSTICK_CLKSourceConfig(SYSTICK_CLKSOURCE_HCLK);

  /* SysTick_IRQn interrupt configuration */
  HAL_NVIC_SetPriority(SysTick_IRQn, 0, 0);
}

/* USER CODE BEGIN 4 */
#if defined (DEBUG_USART)
#ifdef __GNUC__
/* With GCC/RAISONANCE, small printf (option LD Linker->Libraries->Small printf
set to 'Yes') calls __io_putchar() */
#define PUTCHAR_PROTOTYPE int __io_putchar(int ch)
#else
#define PUTCHAR_PROTOTYPE int fputc(int ch, FILE *f)
#endif
PUTCHAR_PROTOTYPE
{
	while(__HAL_UART_GET_FLAG(&huart3, UART_FLAG_TC) == RESET);
#ifdef __STM32F0xx_HAL_H

	huart1.Instance->TDR = (uint8_t)ch;
#endif

 huart3.Instance->DR = (uint8_t)ch;

#ifdef __STM32L1xx_HAL_H
	huart3.Instance->DR = (uint8_t)ch;
#endif

	return ch;
}
#endif
/* USER CODE END 4 */

void HAL_TIM_PeriodElapsedCallback(TIM_HandleTypeDef *htim)
{
  if (htim->Instance == TIM2) {
    HAL_IncTick();
  }
}

void _Error_Handler(char *file, int line)
{
  while(1)
  {
  }
}

/************************ (C) COPYRIGHT STMicroelectronics *****END OF FILE****/
